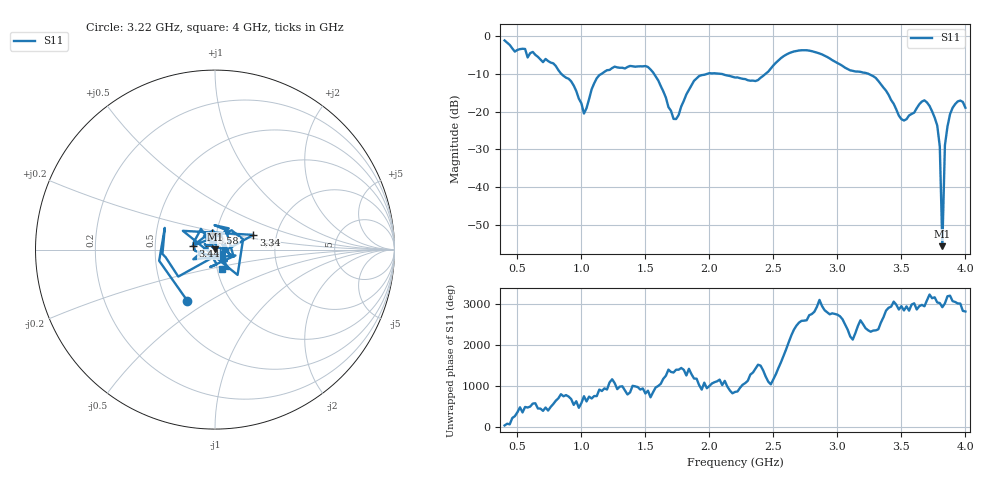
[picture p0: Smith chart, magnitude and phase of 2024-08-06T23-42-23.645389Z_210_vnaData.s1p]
!Created with skrf (http://scikit-rf.org).
# Hz S RI R 50.0
!freq ReS11 ImS11
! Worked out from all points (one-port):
!   181 points, 400 MHz to 4 GHz, reference 50 ohm
!   lowest |S11| = -55.6 dB at 3.82 GHz (marker M1), VSWR 1.00, Z = 50.1 + j0.097 ohm
!   |S11| at or under -10 dB: 1.567 GHz to 1.984 GHz (417.4 MHz wide, 23.5 % of centre); 2.084 GHz to 2.44 GHz (356.3 MHz wide, 15.8 % of centre); 3.242 GHz to end of sweep (the widest 3 of 4)
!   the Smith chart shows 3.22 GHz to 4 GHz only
!   S11 on the Smith chart (normalised r, x): 3.22 GHz: 0.63, -0.41; 3.34 GHz: 1.52, +0.26; 3.44 GHz: 0.78, +0.03; 3.58 GHz: 0.95, +0.18; 4 GHz: 1.05, -0.23
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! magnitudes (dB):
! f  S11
! 400 MHz  -1.2
! 860 MHz  -10.5
! 940 MHz  -13.1
! 1.02 GHz  -20.5
! 1.12 GHz  -11.2
! 1.3 GHz  -8.4
! 1.52 GHz  -8.2
! 1.72 GHz  -21.9
! 1.76 GHz  -20.9
! 1.92 GHz  -10.6
! 2.2 GHz  -11.0
! 2.38 GHz  -11.7
! 2.66 GHz  -4.1
! 3.1 GHz  -9.1
! 3.22 GHz  -9.8
! 3.34 GHz  -12.8
! 3.44 GHz  -17.9
! 3.5 GHz  -22.0
! 3.56 GHz  -21.0
! 3.58 GHz  -20.6
! 3.68 GHz  -17.0
! 3.78 GHz  -23.7
! 3.8 GHz  -29.2
! 3.82 GHz  -55.6
! 3.84 GHz  -28.9
! 3.86 GHz  -24.0
! 3.92 GHz  -18.0
! 4 GHz  -19.0
